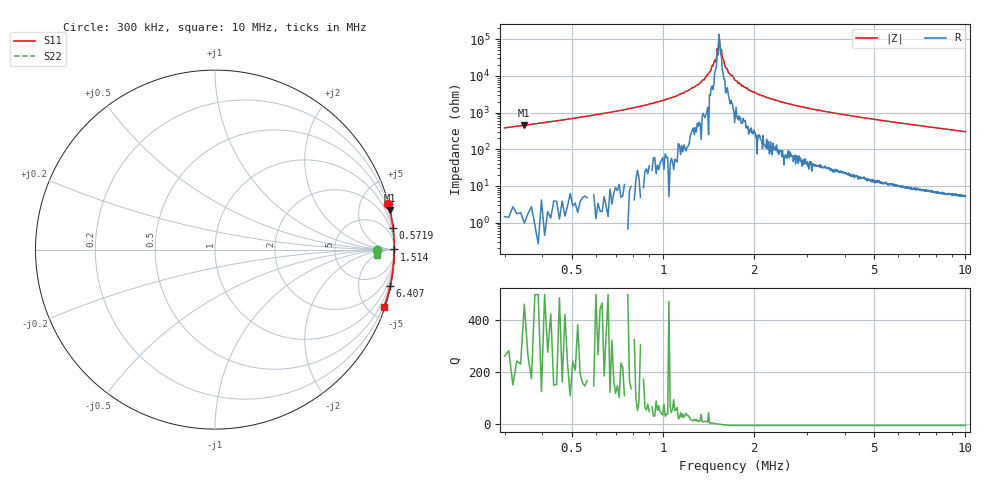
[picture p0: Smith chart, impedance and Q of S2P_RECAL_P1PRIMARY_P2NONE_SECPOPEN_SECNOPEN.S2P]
!Keysight Technologies,E5061B,MY49709559,B.05.06
!Date: Fri Apr 08 00:56:01 2022
!Data & Calibration Information:
!Freq	S11:SOLT2(ON)	S21:SOLT2(ON)	S12:SOLT2(ON)	S22:SOLT2(ON)
# Hz S RI R 50
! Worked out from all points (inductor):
!   1000 points, 300 kHz to 10 MHz, reference 50 ohm
!   read as one part to ground: L = 196 uH near 348.5 kHz
!   highest Q = 262 at 348.5 kHz (marker M1), where L = 206 uH
!   self-resonance near 1.533 MHz
!   S11 on the Smith chart (normalised r, x): 300 kHz: 0.03, +7.66; 571.9 kHz: -0, +16; 1.514 MHz: open; 6.407 MHz: 0.18, -9.83; 10 MHz: 0.10, -6.05
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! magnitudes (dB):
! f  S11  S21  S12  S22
! 300 kHz  0.0  -84.9  -88.1  -0.9
! 348.5 kHz  0.0  -91.5  -88.5  -0.9
! 571.9 kHz  0.0  -83.3  -87.7  -0.9
! 804.9 kHz  0.0  -95.9  -100.6  -0.9
! 979.7 kHz  0.0  -105.5  -94.8  -0.9
! 1.096 MHz  0.0  -94.3  -96.9  -0.9
! 1.514 MHz  0.0  -96.8  -86.5  -0.9
! 1.834 MHz  0.0  -87.8  -86.7  -0.9
! 1.922 MHz  0.0  -86.6  -88.4  -0.9
! 2.184 MHz  0.0  -86.3  -90.9  -0.9
! 2.29 MHz  0.0  -91.0  -87.8  -0.9
! 2.417 MHz  0.0  -82.8  -98.6  -0.9
! 2.524 MHz  0.0  -95.9  -99.7  -0.9
! 2.64 MHz  0.0  -95.3  -91.0  -0.9
! 2.98 MHz  0.0  -95.9  -84.3  -0.9
! 3.067 MHz  0.0  -92.7  -94.6  -0.9
! 3.543 MHz  0.0  -91.5  -90.7  -0.9
! 5.155 MHz  0.0  -92.2  -93.2  -0.9
! 6.407 MHz  0.0  -93.5  -86.5  -0.9
! 6.767 MHz  0.0  -95.0  -86.6  -0.9
! 8.388 MHz  0.0  -90.9  -85.2  -0.9
! 10 MHz  0.0  -94.9  -81.5  -0.9
